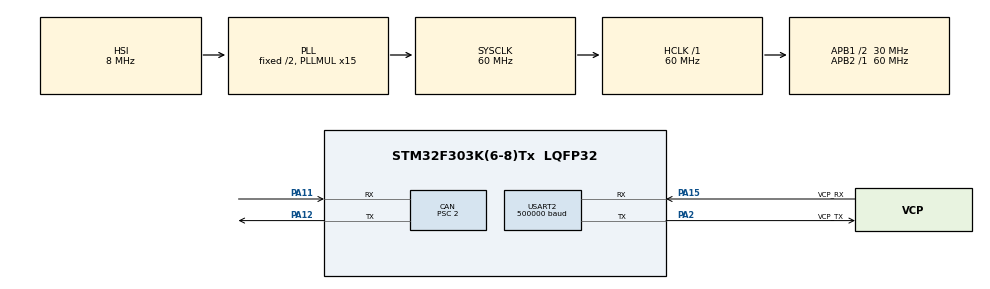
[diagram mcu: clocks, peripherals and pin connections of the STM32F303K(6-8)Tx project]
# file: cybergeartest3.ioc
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CAN.BS1=CAN_BS1_12TQ
CAN.BS2=CAN_BS2_2TQ
CAN.CalculateBaudRate=999999
CAN.CalculateTimeBit=1000
CAN.CalculateTimeQuantum=66.66666666666667
CAN.Prescaler=2
Mcu.Family=STM32F3
Mcu.Name=STM32F303K(6-8)Tx
Mcu.Package=LQFP32
NVIC.PriorityGroup=NVIC_PRIORITYGROUP_4
PA11.Mode=CAN_Activate
PA11.Signal=CAN_RX
PA12.Mode=CAN_Activate
PA12.Signal=CAN_TX
PA13.GPIO_Label=SWDIO
PA13.Mode=Serial_Wire
PA13.Signal=SYS_JTMS-SWDIO
PA14.GPIO_Label=SWCLK
PA14.Mode=Serial_Wire
PA14.Signal=SYS_JTCK-SWCLK
PA15.GPIO_Label=VCP_RX
PA15.Mode=Asynchronous
PA15.Signal=USART2_RX
PA2.GPIO_Label=VCP_TX
PA2.Mode=Asynchronous
PA2.Signal=USART2_TX
PF0\ /\ OSC_IN.GPIO_Label=MCO
PF0\ /\ OSC_IN.Mode=HSE-External-Clock-Source
PF0\ /\ OSC_IN.Signal=RCC_OSC_IN
ProjectManager.HeapSize=0x200
ProjectManager.StackSize=0x400
ProjectManager.TargetToolchain=STM32CubeIDE
RCC.AHBFreq_Value=60000000
RCC.APB1CLKDivider=RCC_HCLK_DIV2
RCC.APB1Freq_Value=30000000
RCC.APB1TimFreq_Value=60000000
RCC.APB2Freq_Value=60000000
RCC.APB2TimFreq_Value=60000000
RCC.CortexFreq_Value=60000000
RCC.HCLKFreq_Value=60000000
RCC.HSE_VALUE=8000000
RCC.HSI_VALUE=8000000
RCC.PLLMUL=RCC_PLL_MUL15
RCC.SYSCLKFreq_VALUE=60000000
RCC.SYSCLKSourceVirtual=RCC_SYSCLKSOURCE_PLLCLK
USART2.BaudRate=500000
USART2.VirtualMode-Asynchronous=VM_ASYNC
board=NUCLEO-F303K8

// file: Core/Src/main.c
/* USER CODE BEGIN Header */
/**
  ******************************************************************************
  * @file           : main.c
  * @brief          : Main program body
  ******************************************************************************
  * @attention
  *
  * <h2><center>&copy; Copyright (c) 2024 STMicroelectronics.
  * All rights reserved.</center></h2>
  *
  * This software component is licensed by ST under BSD 3-Clause license,
  * the "License"; You may not use this file except in compliance with the
  * License. You may obtain a copy of the License at:
  *                        opensource.org/licenses/BSD-3-Clause
  *
  ******************************************************************************
  */
/* USER CODE END Header */
#include "main.h"

/* USER CODE BEGIN Includes */
#include "CyberGear.h"
#include "Easy_CAN6.h"
#include <math.h>
/* USER CODE END Includes */

CAN_HandleTypeDef hcan;

UART_HandleTypeDef huart2;

/* USER CODE BEGIN PV */
CyberGear_Typedef my_cyber[4];
Easy_CAN6_Typedef ecan;
/* USER CODE END PV */

void SystemClock_Config(void);
static void MX_GPIO_Init(void);
static void MX_USART2_UART_Init(void);
static void MX_CAN_Init(void);

/* USER CODE BEGIN 0 */
void HAL_CAN_RxFifo0MsgPendingCallback(CAN_HandleTypeDef *hcan) {
	CAN_RxHeaderTypeDef RxHeader;
	uint8_t rxbuf[8];
	HAL_CAN_GetRxMessage(hcan, CAN_RX_FIFO0, &RxHeader, rxbuf);

	CyberGear_CANRxTask(&my_cyber, hcan, RxHeader, rxbuf);

}
float look_pos = 10;
/* USER CODE END 0 */

int main(void)
{
  /* USER CODE BEGIN 1 */
	  const uint8_t txBuff[] = "Hello, Worldaaaa\n";
	  uint32_t startTime;
	  uint32_t sdTime;
	  uint8_t sdBuff[100];
  /* USER CODE END 1 */

  /* MCU Configuration--------------------------------------------------------*/

  /* Reset of all peripherals, Initializes the Flash interface and the Systick. */
  HAL_Init();

  /* Configure the system clock */
  SystemClock_Config();

  /* Initialize all configured peripherals */
  MX_GPIO_Init();
  MX_USART2_UART_Init();
  MX_CAN_Init();
  /* USER CODE BEGIN 2 */
	Easy_CAN6_Start(&ecan, &hcan, 2);
	for (int i = 0; i < 4; i++) {
		CyberGear_Init(&my_cyber[i], &ecan, 0x70 + i, 0, HAL_Delay);
		CyberGear_ResetMotor(&my_cyber[i]);
		CyberGear_SetMode(&my_cyber[i], MODE_SPEED);
		CyberGear_SetConfig(&my_cyber[i], 12.0f, 30.0f, 6.0f);
		CyberGear_EnableMotor(&my_cyber[i]);
	}
	CyberGear_ControlSpeed(&my_cyber[0], 1.0);
	CyberGear_ControlSpeed(&my_cyber[1], -1.0);
	CyberGear_ControlSpeed(&my_cyber[2], 30.0);
	CyberGear_ControlSpeed(&my_cyber[3], -30.0);
	HAL_Delay(1000);
//	CyberGear_ControlSpeed(&my_cyber, -50.0);

//	  startTime = HAL_GetTick();

	  HAL_UART_Transmit(&huart2, txBuff, sizeof(txBuff), 0xFFFF);

//	  sdTime =  HAL_GetTick() - startTime;
//	  sprintf(sdBuff, "time: %dms\n", sdTime);
//	  HAL_UART_Transmit(&huart2, sdBuff, strlen(sdBuff), 0xFFFF);

  /* USER CODE END 2 */

  /* Infinite loop */
  while (1)
  {

  }
}

void SystemClock_Config(void)
{
  RCC_OscInitTypeDef RCC_OscInitStruct = {0};
  RCC_ClkInitTypeDef RCC_ClkInitStruct = {0};

  /** Initializes the RCC Oscillators according to the specified parameters
  * in the RCC_OscInitTypeDef structure.
  */
  RCC_OscInitStruct.OscillatorType = RCC_OSCILLATORTYPE_HSI;
  RCC_OscInitStruct.HSIState = RCC_HSI_ON;
  RCC_OscInitStruct.HSICalibrationValue = RCC_HSICALIBRATION_DEFAULT;
  RCC_OscInitStruct.PLL.PLLState = RCC_PLL_ON;
  RCC_OscInitStruct.PLL.PLLSource = RCC_PLLSOURCE_HSI;
  RCC_OscInitStruct.PLL.PLLMUL = RCC_PLL_MUL15;
  if (HAL_RCC_OscConfig(&RCC_OscInitStruct) != HAL_OK)
  {
    Error_Handler();
  }

  /** Initializes the CPU, AHB and APB buses clocks
  */
  RCC_ClkInitStruct.ClockType = RCC_CLOCKTYPE_HCLK|RCC_CLOCKTYPE_SYSCLK
                              |RCC_CLOCKTYPE_PCLK1|RCC_CLOCKTYPE_PCLK2;
  RCC_ClkInitStruct.SYSCLKSource = RCC_SYSCLKSOURCE_PLLCLK;
  RCC_ClkInitStruct.AHBCLKDivider = RCC_SYSCLK_DIV1;
  RCC_ClkInitStruct.APB1CLKDivider = RCC_HCLK_DIV2;
  RCC_ClkInitStruct.APB2CLKDivider = RCC_HCLK_DIV1;

  if (HAL_RCC_ClockConfig(&RCC_ClkInitStruct, FLASH_LATENCY_2) != HAL_OK)
  {
    Error_Handler();
  }
}

static void MX_CAN_Init(void)
{

  hcan.Instance = CAN;
  hcan.Init.Prescaler = 2;
  hcan.Init.Mode = CAN_MODE_NORMAL;
  hcan.Init.SyncJumpWidth = CAN_SJW_1TQ;
  hcan.Init.TimeSeg1 = CAN_BS1_12TQ;
  hcan.Init.TimeSeg2 = CAN_BS2_2TQ;
  hcan.Init.TimeTriggeredMode = DISABLE;
  hcan.Init.AutoBusOff = DISABLE;
  hcan.Init.AutoWakeUp = DISABLE;
  hcan.Init.AutoRetransmission = DISABLE;
  hcan.Init.ReceiveFifoLocked = DISABLE;
  hcan.Init.TransmitFifoPriority = DISABLE;
  if (HAL_CAN_Init(&hcan) != HAL_OK)
  {
    Error_Handler();
  }

}

static void MX_USART2_UART_Init(void)
{

  huart2.Instance = USART2;
  huart2.Init.BaudRate = 500000;
  huart2.Init.WordLength = UART_WORDLENGTH_8B;
  huart2.Init.StopBits = UART_STOPBITS_1;
  huart2.Init.Parity = UART_PARITY_NONE;
  huart2.Init.Mode = UART_MODE_TX_RX;
  huart2.Init.HwFlowCtl = UART_HWCONTROL_NONE;
  huart2.Init.OverSampling = UART_OVERSAMPLING_16;
  huart2.Init.OneBitSampling = UART_ONE_BIT_SAMPLE_DISABLE;
  huart2.AdvancedInit.AdvFeatureInit = UART_ADVFEATURE_NO_INIT;
  if (HAL_UART_Init(&huart2) != HAL_OK)
  {
    Error_Handler();
  }

}

static void MX_GPIO_Init(void)
{

  /* GPIO Ports Clock Enable */
  __HAL_RCC_GPIOF_CLK_ENABLE();
  __HAL_RCC_GPIOA_CLK_ENABLE();

}

void Error_Handler(void)
{
  __disable_irq();
  while (1)
  {
  }
}
